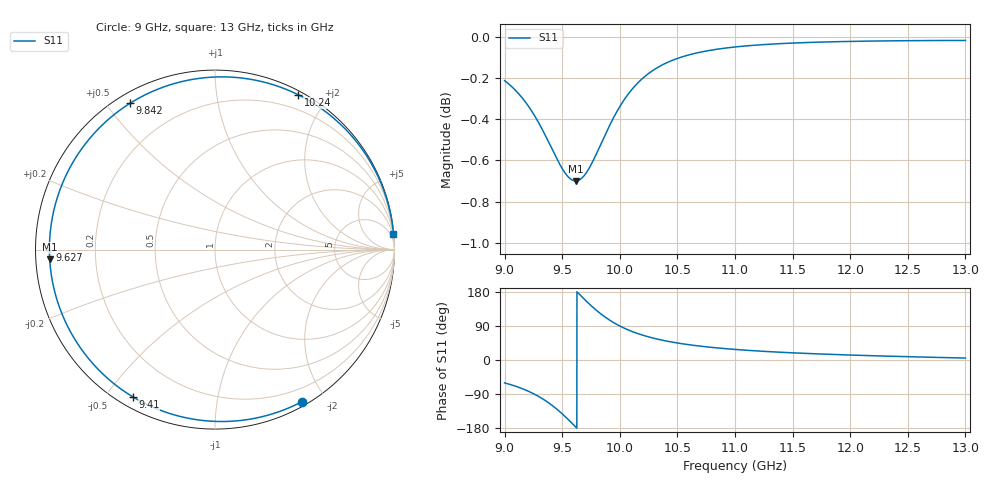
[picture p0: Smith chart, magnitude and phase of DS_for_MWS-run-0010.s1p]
! TOUCHSTONE file generated by CST DESIGN STUDIO
! Date and time: Tue Feb  4 13:08:18 2025
! Project name: C:\Work\MatlabApps\UnitCellOptimizationMatlab\CST\unitcell.cst
! Tree item: Tasks\Sweep1\SPara1\S-Parameters
! Header version: 2024
! Port assignment regex: !\s*Touchstone port\s*([0-9]+)\s*=\s*(CST MWS port|CST DES external port|CST DES block port)\s*(.+)\s* \(\"(.*)\"\)(\s*mode\s*([0-9]+))?.*
! Touchstone port assignment:
! Touchstone port 1 = CST DES external port 1 ("")
# GHz S MA R 50
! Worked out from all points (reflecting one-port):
!   4001 points, 9 GHz to 13 GHz, reference 50 ohm
!   lowest |S11| = -0.7 dB at 9.617 GHz (marker M1), VSWR 24.84, Z = 2.01 - j1.45 ohm
!   phase of S11 starts at -60 deg and turns -294 deg over the sweep
!   S11 on the Smith chart (normalised r, x): 9 GHz: 0.05, -1.72; 9.41 GHz: 0.04, -0.59; 9.627 GHz: 0.04, -0.00; 9.842 GHz: 0.04, +0.58; 10.24 GHz: 0.04, +1.67; 13 GHz: 0, +22
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9  0.9759 -60.4
9.056  0.9729 -65.3
9.129  0.9682 -72.8
9.193  0.9632 -80.6
9.255  0.9574 -89.6
9.338  0.9483 -104.0
9.41  0.9394 -119.2
9.455  0.9339 -130.1
9.5  0.929 -142.1
9.562  0.9241 -159.9
9.617  0.9226 -176.7
9.627  0.9227 -179.8
9.672  0.9242 166.5
9.719  0.9277 152.5
9.781  0.9347 135.2
9.842  0.9426 120.1
9.915  0.9521 104.5
10  0.9618 89.7
10.115  0.9718 74.2
10.241  0.9794 61.7
10.361  0.9842 52.8
10.5  0.9881 44.9
10.72  0.9918 35.8
11  0.9944 27.9
11.5  0.9966 18.9
12  0.9975 13.1
12.5  0.9979 8.7
13  0.9981 5.1
